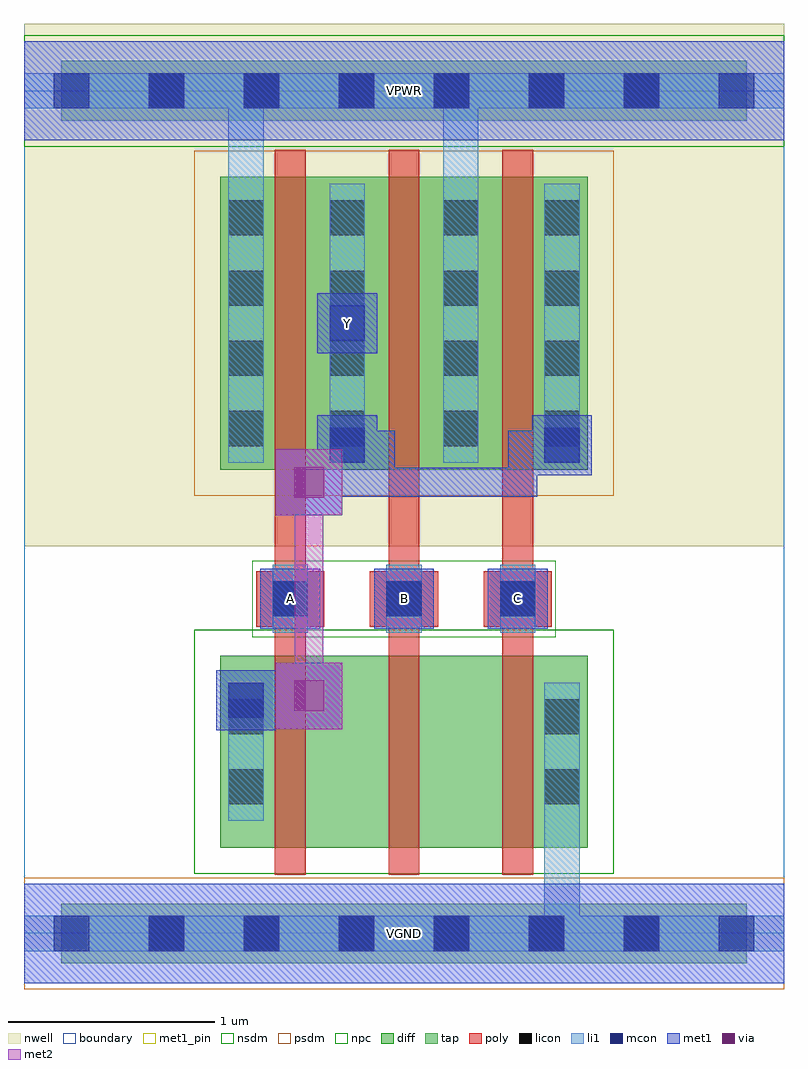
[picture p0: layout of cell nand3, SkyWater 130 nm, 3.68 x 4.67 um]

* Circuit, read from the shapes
.subckt nand3 A B C VGND VPWR Y
XM1 n1 A Y VGND sky130_fd_pr__nfet_01v8 w=0.93 l=0.15
XM2 n2 B n1 VGND sky130_fd_pr__nfet_01v8 w=0.93 l=0.15
XM3 VGND C n2 VGND sky130_fd_pr__nfet_01v8 w=0.93 l=0.15
XM4 Y A VPWR VPWR sky130_fd_pr__pfet_01v8 w=1.42 l=0.15
XM5 VPWR B Y VPWR sky130_fd_pr__pfet_01v8 w=1.42 l=0.15
XM6 Y C VPWR VPWR sky130_fd_pr__pfet_01v8 w=1.42 l=0.15
.ends

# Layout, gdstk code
import gdstk
lib = gdstk.Library(unit=1e-6, precision=1e-09)
def R(c, l, rs):  # rectangles x0, y0, x1, y1
    for r in rs: c.add(gdstk.rectangle(r[:2], r[2:], *l))
def A(c, l, x, y, w, h, nx, ny, dx, dy):  # array of equal rectangles
    R(c, l, [(x+i*dx, y+j*dy, x+i*dx+w, y+j*dy+h) for i in range(nx) for j in range(ny)])
nwell = (64, 20)
diff = (65, 20)
tap = (65, 44)
poly = (66, 20)
licon = (66, 44)
li1 = (67, 20)
mcon = (67, 44)
met1_pin = (68, 16)
met1 = (68, 20)
via = (68, 44)
met2 = (69, 20)
nsdm = (93, 44)
psdm = (94, 20)
npc = (95, 20)
boundary = (235, 4)

nand3 = lib.new_cell('nand3')
R(nand3, nwell, [(0,1.875,3.68,4.405)])
R(nand3, diff, [(0.95,0.415,2.73,1.345), (0.95,2.245,2.73,3.665)])
R(nand3, tap, [(0.18,-0.145,3.5,0.145), (0.18,3.935,3.5,4.225)])
A(nand3, poly, 1.215, 0.285, 0.15, 3.51, 3, 1, 0.55, 0)
A(nand3, poly, 1.125, 1.485, 0.33, 0.27, 3, 1, 0.55, 0)
A(nand3, licon, 0.605, -0.085, 0.17, 0.17, 6, 2, 0.46, 4.08)
A(nand3, licon, 1.205, 1.535, 0.17, 0.17, 3, 1, 0.55, 0)
A(nand3, licon, 0.99, 2.36, 0.17, 0.17, 1, 4, 0, 0.34)
A(nand3, licon, 1.48, 2.36, 0.17, 0.17, 1, 4, 0, 0.34)
A(nand3, licon, 2.03, 2.36, 0.17, 0.17, 1, 4, 0, 0.34)
A(nand3, licon, 2.52, 2.36, 0.17, 0.17, 1, 4, 0, 0.34)
R(nand3, licon, [(0.99,0.625,1.16,0.795), (2.52,0.625,2.69,0.795), (0.99,0.965,1.16,1.135), (2.52,0.965,2.69,1.135)])
A(nand3, li1, 1.205, 1.455, 0.17, 0.33, 3, 1, 0.55, 0)
R(nand3, li1, [(0,-0.085,3.68,0.085), (2.52,-0.085,2.69,1.215), (0.99,0.545,1.16,1.215), (2.52,0.545,2.69,1.215), (0.99,2.28,1.16,3.63), (0.99,2.28,1.16,4.165), (1.48,2.28,1.65,3.63), (2.03,2.28,2.2,3.63), (2.03,2.28,2.2,4.165), (2.52,2.28,2.69,3.63), (0,3.995,3.68,4.165)])
A(nand3, mcon, 0.145, -0.085, 0.17, 0.17, 8, 2, 0.46, 4.08)
A(nand3, mcon, 1.205, 1.535, 0.17, 0.17, 3, 1, 0.55, 0)
R(nand3, mcon, [(0.99,1.045,1.16,1.215), (1.48,2.28,1.65,2.45), (2.52,2.28,2.69,2.45), (1.48,2.87,1.65,3.04)])
A(nand3, met1_pin, 1.145, 1.475, 0.29, 0.29, 3, 1, 0.55, 0)
R(nand3, met1_pin, [(0,-0.24,3.68,0.24), (1.42,2.81,1.71,3.1), (0,3.84,3.68,4.32)])
A(nand3, met1, 1.145, 1.475, 0.29, 0.29, 3, 1, 0.55, 0)
R(nand3, met1, [(0,-0.24,3.68,0.24), (0.93,0.985,1.22,1.275), (1.22,0.99,1.54,1.31), (1.005,1.06,1.335,1.2), (1.195,1.06,1.335,1.22), (1.195,1.08,1.45,1.22), (1.22,2.025,1.54,2.345), (1.31,2.115,1.795,2.255), (1.54,2.115,1.655,2.345), (1.655,2.115,1.795,2.435), (1.655,2.115,2.485,2.255), (2.345,2.115,2.485,2.435), (1.42,2.22,1.71,2.51), (2.46,2.22,2.75,2.51), (1.495,2.255,1.795,2.295), (1.495,2.295,1.795,2.435), (2.345,2.295,2.675,2.435), (1.42,2.81,1.71,3.1), (0,3.84,3.68,4.32)])
R(nand3, via, [(1.305,1.075,1.455,1.225), (1.305,2.11,1.455,2.26)])
R(nand3, met2, [(1.22,0.99,1.54,1.31), (1.31,1.08,1.45,2.255), (1.22,2.025,1.54,2.345)])
R(nand3, nsdm, [(0.825,0.29,2.855,1.47), (0,3.81,3.68,4.35)])
R(nand3, psdm, [(0,-0.27,3.68,0.27), (0.825,2.12,2.855,3.79)])
R(nand3, npc, [(1.105,1.435,2.575,1.805)])
R(nand3, boundary, [(0,0,3.68,4.08)])
nand3.add(gdstk.Label('A', (1.29,1.62), layer=68, texttype=5))
nand3.add(gdstk.Label('B', (1.84,1.62), layer=68, texttype=5))
nand3.add(gdstk.Label('C', (2.39,1.62), layer=68, texttype=5))
nand3.add(gdstk.Label('Y', (1.565,2.955), layer=68, texttype=5))
nand3.add(gdstk.Label('VPWR', (1.84,4.08), layer=68, texttype=5))
nand3.add(gdstk.Label('VGND', (1.84,0), layer=68, texttype=5))
nand3.add(gdstk.Label('A', (1.29,1.62), layer=68, texttype=16))
nand3.add(gdstk.Label('B', (1.84,1.62), layer=68, texttype=16))
nand3.add(gdstk.Label('C', (2.39,1.62), layer=68, texttype=16))
nand3.add(gdstk.Label('Y', (1.565,2.955), layer=68, texttype=16))
nand3.add(gdstk.Label('VPWR', (1.84,4.08), layer=68, texttype=16))
nand3.add(gdstk.Label('VGND', (1.84,0), layer=68, texttype=16))

lib.write_gds('nand3.gds')
